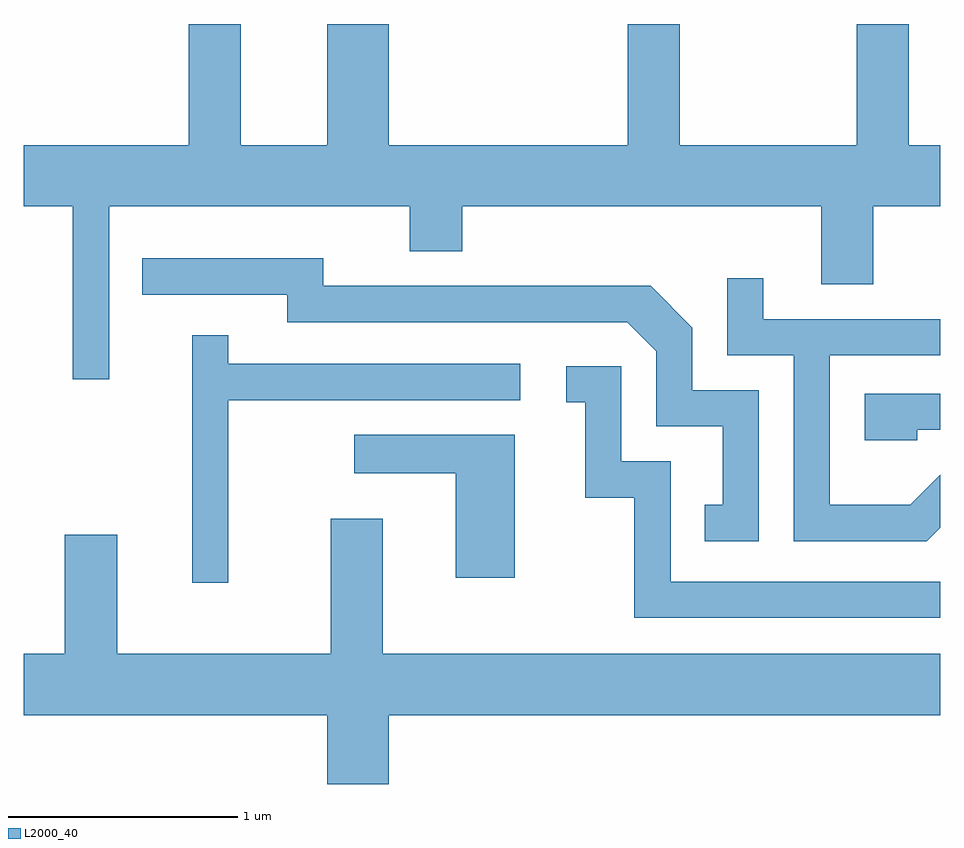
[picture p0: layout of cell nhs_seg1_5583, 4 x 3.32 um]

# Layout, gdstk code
import gdstk
lib = gdstk.Library(unit=1e-6, precision=1e-09)
def P(c, l, *ps):  # polygons
    for p in ps: c.add(gdstk.Polygon(p, *l))
L2000_40 = (2000, 40)

nhs_seg1_5583 = lib.new_cell('nhs_seg1_5583')
P(nhs_seg1_5583, L2000_40, [(353.984,892.916),(355.296,892.916),(355.296,892.721),(355.524,892.721),(355.524,892.916),(357.091,892.916),(357.091,892.576),(357.319,892.576),(357.319,892.916),(357.611,892.916),(357.611,893.184),(357.474,893.184),(357.474,893.712),(357.246,893.712),(357.246,893.184),(356.474,893.184),(356.474,893.712),(356.246,893.712),(356.246,893.184),(355.204,893.184),(355.204,893.712),(354.936,893.712),(354.936,893.184),(354.559,893.184),(354.559,893.712),(354.331,893.712),(354.331,893.184),(353.611,893.184),(353.611,892.916),(353.826,892.916),(353.826,892.163),(353.984,892.163)],
  [(356.819,892.114),(356.529,892.114),(356.529,892.387),(356.347,892.569),(354.919,892.569),(354.919,892.689),(354.128,892.689),(354.128,892.531),(354.761,892.531),(354.761,892.411),(356.244,892.411),(356.371,892.284),(356.371,891.956),(356.661,891.956),(356.661,891.614),(356.583,891.614),(356.583,891.456),(356.819,891.456)],
  [(357.611,891.515),(357.611,891.746),(357.479,891.614),(357.129,891.614),(357.129,892.266),(357.611,892.266),(357.611,892.424),(356.839,892.424),(356.839,892.603),(356.681,892.603),(356.681,892.266),(356.971,892.266),(356.971,891.456),(357.552,891.456)],
  [(354.504,892.071),(355.778,892.071),(355.778,892.229),(354.504,892.229),(354.504,892.353),(354.346,892.353),(354.346,891.273),(354.504,891.273)],
  [(357.611,891.279),(356.434,891.279),(356.434,891.804),(356.219,891.804),(356.219,892.219),(355.978,892.219),(355.978,892.061),(356.061,892.061),(356.061,891.646),(356.276,891.646),(356.276,891.121),(357.611,891.121)],
  [(357.509,891.941),(357.611,891.941),(357.611,892.099),(357.281,892.099),(357.281,891.896),(357.509,891.896)],
  [(355.754,891.919),(355.053,891.919),(355.053,891.751),(355.496,891.751),(355.496,891.296),(355.754,891.296)],
  [(355.204,890.696),(357.611,890.696),(357.611,890.964),(355.179,890.964),(355.179,891.554),(354.951,891.554),(354.951,890.964),(354.019,890.964),(354.019,891.484),(353.791,891.484),(353.791,890.964),(353.611,890.964),(353.611,890.696),(354.936,890.696),(354.936,890.396),(355.204,890.396)])

lib.write_gds('nhs_seg1_5583.gds')
